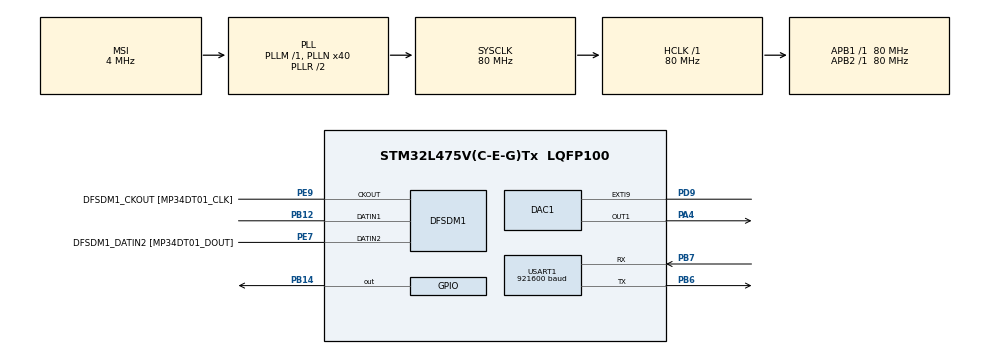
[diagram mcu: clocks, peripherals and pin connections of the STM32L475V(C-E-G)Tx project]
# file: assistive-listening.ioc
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DFSDM1.Divider=25
DFSDM1.DmaMode_reg_FIL0=ENABLE
DFSDM1.DmaMode_reg_FIL1=ENABLE
DFSDM1.FastMode_reg_FIL0=ENABLE
DFSDM1.FastMode_reg_FIL1=ENABLE
DFSDM1.Filter_injChannel1_FIL2=DFSDM_CHANNEL_1
DFSDM1.Filter_regChannel_FIL0=DFSDM_CHANNEL_2
DFSDM1.Filter_regChannel_FIL1=DFSDM_CHANNEL_1
DFSDM1.Filter_regChannel_FIL2=__NULL
DFSDM1.Filter_regChannel_FIL3=__NULL
DFSDM1.Fosr_FIL0=200
DFSDM1.Fosr_FIL1=200
DFSDM1.Fosr_FIL2=200
DFSDM1.RightBitShift_CH1=0x03
DFSDM1.RightBitShift_CH2=0x03
DFSDM1.Trigger_reg_FIL1=DFSDM_FILTER_SYNC_TRIGGER
DFSDM1.Type_spi_CH1=DFSDM_CHANNEL_SPI_FALLING
Dma.DAC_CH1.2.Direction=DMA_MEMORY_TO_PERIPH
Dma.DAC_CH1.2.Instance=DMA1_Channel3
Dma.DAC_CH1.2.MemDataAlignment=DMA_MDATAALIGN_HALFWORD
Dma.DAC_CH1.2.MemInc=DMA_MINC_ENABLE
Dma.DAC_CH1.2.Mode=DMA_CIRCULAR
Dma.DAC_CH1.2.PeriphDataAlignment=DMA_PDATAALIGN_HALFWORD
Dma.DAC_CH1.2.PeriphInc=DMA_PINC_DISABLE
Dma.DAC_CH1.2.Priority=DMA_PRIORITY_LOW
Dma.DFSDM1_FLT0.0.Direction=DMA_PERIPH_TO_MEMORY
Dma.DFSDM1_FLT0.0.Instance=DMA1_Channel4
Dma.DFSDM1_FLT0.0.MemDataAlignment=DMA_MDATAALIGN_WORD
Dma.DFSDM1_FLT0.0.MemInc=DMA_MINC_ENABLE
Dma.DFSDM1_FLT0.0.Mode=DMA_CIRCULAR
Dma.DFSDM1_FLT0.0.PeriphDataAlignment=DMA_PDATAALIGN_WORD
Dma.DFSDM1_FLT0.0.PeriphInc=DMA_PINC_DISABLE
Dma.DFSDM1_FLT0.0.Priority=DMA_PRIORITY_LOW
Dma.DFSDM1_FLT1.3.Direction=DMA_PERIPH_TO_MEMORY
Dma.DFSDM1_FLT1.3.Instance=DMA1_Channel5
Dma.DFSDM1_FLT1.3.MemDataAlignment=DMA_MDATAALIGN_WORD
Dma.DFSDM1_FLT1.3.MemInc=DMA_MINC_ENABLE
Dma.DFSDM1_FLT1.3.Mode=DMA_CIRCULAR
Dma.DFSDM1_FLT1.3.PeriphDataAlignment=DMA_PDATAALIGN_WORD
Dma.DFSDM1_FLT1.3.PeriphInc=DMA_PINC_DISABLE
Dma.DFSDM1_FLT1.3.Priority=DMA_PRIORITY_LOW
Dma.Request0=DFSDM1_FLT0
Dma.Request1=USART1_TX
Dma.Request2=DAC_CH1
Dma.Request3=DFSDM1_FLT1
Dma.USART1_TX.1.Direction=DMA_MEMORY_TO_PERIPH
Dma.USART1_TX.1.Instance=DMA2_Channel6
Dma.USART1_TX.1.MemDataAlignment=DMA_MDATAALIGN_BYTE
Dma.USART1_TX.1.MemInc=DMA_MINC_ENABLE
Dma.USART1_TX.1.Mode=DMA_NORMAL
Dma.USART1_TX.1.PeriphDataAlignment=DMA_PDATAALIGN_BYTE
Dma.USART1_TX.1.PeriphInc=DMA_PINC_DISABLE
Dma.USART1_TX.1.Priority=DMA_PRIORITY_LOW
Mcu.Family=STM32L4
Mcu.Name=STM32L475V(C-E-G)Tx
Mcu.Package=LQFP100
NVIC.DFSDM1_FLT0_IRQn=true\:0\:0\:false\:false\:true\:true\:true\:true
NVIC.DMA1_Channel3_IRQn=true\:0\:0\:false\:false\:true\:false\:true\:true
NVIC.DMA1_Channel4_IRQn=true\:0\:0\:false\:false\:true\:false\:true\:true
NVIC.DMA1_Channel5_IRQn=true\:0\:0\:false\:false\:true\:false\:true\:true
NVIC.DMA2_Channel6_IRQn=true\:0\:0\:false\:false\:true\:false\:true\:true
NVIC.PriorityGroup=NVIC_PRIORITYGROUP_4
NVIC.USART1_IRQn=true\:0\:0\:false\:false\:true\:true\:true\:true
PA13\ (JTMS-SWDIO).Mode=Serial_Wire
PA13\ (JTMS-SWDIO).Signal=SYS_JTMS-SWDIO
PA14\ (JTCK-SWCLK).Mode=Serial_Wire
PA14\ (JTCK-SWCLK).Signal=SYS_JTCK-SWCLK
PA4.Signal=COMP_DAC11_group
PB12.Signal=S_DATAIN1DFSDM1
PB14.Signal=GPIO_Output
PB6.Mode=Asynchronous
PB6.Signal=USART1_TX
PB7.Mode=Asynchronous
PB7.Signal=USART1_RX
PD9.Signal=GPXTI9
PE7.GPIO_Label=DFSDM1_DATIN2 [MP34DT01_DOUT]
PE7.Signal=S_DATAIN2DFSDM1
PE9.GPIO_Label=DFSDM1_CKOUT [MP34DT01_CLK]
PE9.Signal=S_CKOUTDFSDM1
ProjectManager.HeapSize=0x200
ProjectManager.StackSize=0x400
ProjectManager.TargetToolchain=CMake
RCC.ADCFreq_Value=48000000
RCC.AHBFreq_Value=80000000
RCC.APB1Freq_Value=80000000
RCC.APB1TimFreq_Value=80000000
RCC.APB2Freq_Value=80000000
RCC.APB2TimFreq_Value=80000000
RCC.CortexFreq_Value=80000000
RCC.HCLKFreq_Value=80000000
RCC.HSE_VALUE=8000000
RCC.HSI_VALUE=16000000
RCC.LSE_VALUE=32768
RCC.MSI_VALUE=4000000
RCC.PLLN=40
RCC.PLLSAI1N=24
RCC.SYSCLKFreq_VALUE=80000000
RCC.SYSCLKSource=RCC_SYSCLKSOURCE_PLLCLK
RCC.USBFreq_Value=48000000
RCC.VCOOutputFreq_Value=160000000
SH.COMP_DAC11_group.0=DAC1_OUT1,DAC_OUT1
SH.S_CKOUTDFSDM1.0=DFSDM1_CKOUT,PDM_SPI_input_from_ch2_and_internal_clock
SH.S_CKOUTDFSDM1.1=DFSDM1_CKOUT,CKOUT
SH.S_CKOUTDFSDM1.2=DFSDM1_CKOUT,PDM_SPI_input_from_ch1_and_internal_clock
SH.S_DATAIN1DFSDM1.0=DFSDM1_DATIN1,PDM_SPI_input_from_ch1_and_internal_clock
SH.S_DATAIN2DFSDM1.0=DFSDM1_DATIN2,PDM_SPI_input_from_ch2_and_internal_clock
TIM6.TIM_MasterOutputTrigger=TIM_TRGO_ENABLE
USART1.BaudRate=921600
USART1.VirtualMode-Asynchronous=VM_ASYNC
VP_TIM6_VS_ClockSourceINT.Mode=Enable_Timer
board=B-L475E-IOT01A1

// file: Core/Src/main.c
/* USER CODE BEGIN Header */
/**
  ******************************************************************************
  * @file           : main.c
  * @brief          : Main program body
  ******************************************************************************
  * @attention
  *
  * Copyright (c) 2026 STMicroelectronics.
  * All rights reserved.
  *
  * This software is licensed under terms that can be found in the LICENSE file
  * in the root directory of this software component.
  * If no LICENSE file comes with this software, it is provided AS-IS.
  *
  ******************************************************************************
  */
/* USER CODE END Header */
#include "main.h"

/* USER CODE BEGIN Includes */
#include <stdio.h>
#include <stdbool.h>
/* USER CODE END Includes */

DAC_HandleTypeDef hdac1;
DMA_HandleTypeDef hdma_dac_ch1;

DFSDM_Filter_HandleTypeDef hdfsdm1_filter0;
DFSDM_Filter_HandleTypeDef hdfsdm1_filter1;
DFSDM_Filter_HandleTypeDef hdfsdm1_filter2;
DFSDM_Channel_HandleTypeDef hdfsdm1_channel1;
DFSDM_Channel_HandleTypeDef hdfsdm1_channel2;
DMA_HandleTypeDef hdma_dfsdm1_flt0;
DMA_HandleTypeDef hdma_dfsdm1_flt1;

TIM_HandleTypeDef htim6;

UART_HandleTypeDef huart1;
DMA_HandleTypeDef hdma_usart1_tx;

/* USER CODE BEGIN PV */
#define kMaxAudioSampleSize        512
#define kAudioSampleFrequency      16000
#define kFeatureSliceSize          40
#define kFeatureSliceCount         49
#define kFeatureElementCount       (kFeatureSliceSize * kFeatureSliceCount)
#define kFeatureSliceStrideMs      20
#define kFeatureSliceDurationMs    30
#define kSilenceIndex              0
#define kUnknownIndex              1
#define kCategoryCount             4
#define kDFSDMSamplesPerSlot       1024
#define kAudioCaptureBufferSize    (kDFSDMSamplesPerSlot * 16)
#define kUartAudioGain             4
extern const char* kCategoryLabels[kCategoryCount];

bool g_is_audio_initialized = false;
// An internal buffer able to fit 16x our sample size
#define HALF_SIZE (kDFSDMSamplesPerSlot / 2)

volatile uint8_t half_ready_f0[2] = {0, 0};
volatile uint8_t half_ready_f1[2] = {0, 0};

int32_t dfsdm_dma_buffer0[kDFSDMSamplesPerSlot];
int32_t dfsdm_dma_buffer1[kDFSDMSamplesPerSlot];

int16_t stereo_buffer[kDFSDMSamplesPerSlot]; // 2x HALF interleaved
int16_t beamformed_buffer[HALF_SIZE];   // mono output, 512 samples
// A buffer that holds our output
int16_t g_audio_output_buffer[kMaxAudioSampleSize];
int16_t uart_tx_buffer[kDFSDMSamplesPerSlot / 2];   // or correct size
// Mark as volatile so we can check in a while loop to see if
// any samples have arrived yet.
volatile int32_t g_latest_audio_timestamp = 0;

int counter = 0;

#define BEAMFORM_GAIN_SHIFT     1   // divide by 2 after adding two mics
#define BEAMFORM_DELAY_SAMPLES  1

int16_t beamform_delay_s1_history = 0;

/* USER CODE END PV */

void SystemClock_Config(void);
static void MX_GPIO_Init(void);
static void MX_DMA_Init(void);
static void MX_DFSDM1_Init(void);
static void MX_USART1_UART_Init(void);
static void MX_DAC1_Init(void);
static void MX_TIM6_Init(void);
/* USER CODE BEGIN PFP */
int16_t clamp(int32_t val, int16_t min, int16_t max);

//---------------------------------------
volatile uint8_t uart_tx_ready = 1;

volatile uint8_t tx_done_flag = 0;

void ProcessHalf(int half)
{
    int offset = (half == 0) ? 0 : (kDFSDMSamplesPerSlot / 2);

    for (int i = 0; i < kDFSDMSamplesPerSlot / 2; i++)
    {
        int32_t raw0 = dfsdm_dma_buffer0[offset + i];
        int32_t raw1 = dfsdm_dma_buffer1[offset + i];

        int32_t scaled0 = (raw0 >> 8) * kUartAudioGain;
        int32_t scaled1 = (raw1 >> 8) * kUartAudioGain;

        int16_t s0 = clamp(scaled0, -32768, 32767);
        int16_t s1 = clamp(scaled1, -32768, 32767);

        //stereo_buffer[2*i]     = s0;
        //stereo_buffer[2*i + 1] = s1;

        int16_t delayed_s1 = s1;

#if BEAMFORM_DELAY_SAMPLES == 1
        delayed_s1 = beamform_delay_s1_history;
        beamform_delay_s1_history = s1;
#endif

        int32_t beamformed = ((int32_t)s0 + (int32_t)delayed_s1) >> BEAMFORM_GAIN_SHIFT;

        beamformed_buffer[i] = clamp(beamformed, -32768, 32767);
        //beamformed_buffer[i] = s0;
    }
}

void TransmitAudioFrame(int16_t* audio_data, int sample_count) {

   HAL_UART_Transmit_DMA(&huart1, (uint8_t*)audio_data, sample_count * sizeof(int16_t));

}

void HAL_UART_TxCpltCallback(UART_HandleTypeDef *huart)
{
    if (huart->Instance == USART1)
    {
        uart_tx_ready = 1; // Mark that TX is complete
    }
}

int16_t clamp(int32_t val, int16_t min, int16_t max) {
    if (val < min) return min;
    if (val > max) return max;
    return val;
}

/* USER CODE END PFP */

/* USER CODE BEGIN 0 */
/* DMA Half Transfer callback */
void HAL_DFSDM_FilterRegConvHalfCpltCallback(DFSDM_Filter_HandleTypeDef *h)
{
    if (h == &hdfsdm1_filter0) {
        half_ready_f0[0] = 1;
    }
    if (h == &hdfsdm1_filter1) {
        half_ready_f1[0] = 1;
    }
}

void HAL_DFSDM_FilterRegConvCpltCallback(DFSDM_Filter_HandleTypeDef *h)
{
    if (h == &hdfsdm1_filter0) {
        half_ready_f0[1] = 1;
    }
    if (h == &hdfsdm1_filter1) {
        half_ready_f1[1] = 1;
    }
}
/* USER CODE END 0 */

int main(void)
{

  /* MCU Configuration--------------------------------------------------------*/

  /* Reset of all peripherals, Initializes the Flash interface and the Systick. */
  HAL_Init();

  /* Configure the system clock */
  SystemClock_Config();

  /* Initialize all configured peripherals */
  MX_GPIO_Init();
  MX_DMA_Init();
  MX_DFSDM1_Init();
  MX_USART1_UART_Init();
  MX_DAC1_Init();
  MX_TIM6_Init();

  /* Infinite loop */
  /* USER CODE BEGIN WHILE */
  HAL_DFSDM_FilterRegularStart_DMA(&hdfsdm1_filter1,
                                    dfsdm_dma_buffer1,
                                    kDFSDMSamplesPerSlot);

  HAL_DFSDM_FilterRegularStart_DMA(&hdfsdm1_filter0,
		                            dfsdm_dma_buffer0,
									kDFSDMSamplesPerSlot);

  while (1)
  {
    /* USER CODE END WHILE */

    /* USER CODE BEGIN 3 */
	  if (half_ready_f0[0] && half_ready_f1[0] && uart_tx_ready)
	  {
	      uart_tx_ready = 0;

	      ProcessHalf(0);

	      half_ready_f0[0] = 0;
	      half_ready_f1[0] = 0;

	      //TransmitAudioFrame(stereo_buffer, kDFSDMSamplesPerSlot);
	      TransmitAudioFrame(beamformed_buffer, HALF_SIZE);
	  }

	  if (half_ready_f0[1] && half_ready_f1[1] && uart_tx_ready)
	  {
	      uart_tx_ready = 0;

	      ProcessHalf(1);

	      half_ready_f0[1] = 0;
	      half_ready_f1[1] = 0;

	      //TransmitAudioFrame(stereo_buffer, kDFSDMSamplesPerSlot);
	      TransmitAudioFrame(beamformed_buffer, HALF_SIZE);
	  }
  }
  /* USER CODE END 3 */
}

void SystemClock_Config(void)
{
  RCC_OscInitTypeDef RCC_OscInitStruct = {0};
  RCC_ClkInitTypeDef RCC_ClkInitStruct = {0};

  /** Configure the main internal regulator output voltage
  */
  if (HAL_PWREx_ControlVoltageScaling(PWR_REGULATOR_VOLTAGE_SCALE1) != HAL_OK)
  {
    Error_Handler();
  }

  /** Initializes the RCC Oscillators according to the specified parameters
  * in the RCC_OscInitTypeDef structure.
  */
  RCC_OscInitStruct.OscillatorType = RCC_OSCILLATORTYPE_MSI;
  RCC_OscInitStruct.MSIState = RCC_MSI_ON;
  RCC_OscInitStruct.MSICalibrationValue = 0;
  RCC_OscInitStruct.MSIClockRange = RCC_MSIRANGE_6;
  RCC_OscInitStruct.PLL.PLLState = RCC_PLL_ON;
  RCC_OscInitStruct.PLL.PLLSource = RCC_PLLSOURCE_MSI;
  RCC_OscInitStruct.PLL.PLLM = 1;
  RCC_OscInitStruct.PLL.PLLN = 40;
  RCC_OscInitStruct.PLL.PLLP = RCC_PLLP_DIV7;
  RCC_OscInitStruct.PLL.PLLQ = RCC_PLLQ_DIV2;
  RCC_OscInitStruct.PLL.PLLR = RCC_PLLR_DIV2;
  if (HAL_RCC_OscConfig(&RCC_OscInitStruct) != HAL_OK)
  {
    Error_Handler();
  }

  /** Initializes the CPU, AHB and APB buses clocks
  */
  RCC_ClkInitStruct.ClockType = RCC_CLOCKTYPE_HCLK|RCC_CLOCKTYPE_SYSCLK
                              |RCC_CLOCKTYPE_PCLK1|RCC_CLOCKTYPE_PCLK2;
  RCC_ClkInitStruct.SYSCLKSource = RCC_SYSCLKSOURCE_PLLCLK;
  RCC_ClkInitStruct.AHBCLKDivider = RCC_SYSCLK_DIV1;
  RCC_ClkInitStruct.APB1CLKDivider = RCC_HCLK_DIV1;
  RCC_ClkInitStruct.APB2CLKDivider = RCC_HCLK_DIV1;

  if (HAL_RCC_ClockConfig(&RCC_ClkInitStruct, FLASH_LATENCY_4) != HAL_OK)
  {
    Error_Handler();
  }
}

static void MX_DAC1_Init(void)
{

  DAC_ChannelConfTypeDef sConfig = {0};

  /** DAC Initialization
  */
  hdac1.Instance = DAC1;
  if (HAL_DAC_Init(&hdac1) != HAL_OK)
  {
    Error_Handler();
  }

  /** DAC channel OUT1 config
  */
  sConfig.DAC_SampleAndHold = DAC_SAMPLEANDHOLD_DISABLE;
  sConfig.DAC_Trigger = DAC_TRIGGER_NONE;
  sConfig.DAC_OutputBuffer = DAC_OUTPUTBUFFER_ENABLE;
  sConfig.DAC_ConnectOnChipPeripheral = DAC_CHIPCONNECT_DISABLE;
  sConfig.DAC_UserTrimming = DAC_TRIMMING_FACTORY;
  if (HAL_DAC_ConfigChannel(&hdac1, &sConfig, DAC_CHANNEL_1) != HAL_OK)
  {
    Error_Handler();
  }

}

static void MX_DFSDM1_Init(void)
{

  hdfsdm1_filter0.Instance = DFSDM1_Filter0;
  hdfsdm1_filter0.Init.RegularParam.Trigger = DFSDM_FILTER_SW_TRIGGER;
  hdfsdm1_filter0.Init.RegularParam.FastMode = ENABLE;
  hdfsdm1_filter0.Init.RegularParam.DmaMode = ENABLE;
  hdfsdm1_filter0.Init.FilterParam.SincOrder = DFSDM_FILTER_FASTSINC_ORDER;
  hdfsdm1_filter0.Init.FilterParam.Oversampling = 200;
  hdfsdm1_filter0.Init.FilterParam.IntOversampling = 1;
  if (HAL_DFSDM_FilterInit(&hdfsdm1_filter0) != HAL_OK)
  {
    Error_Handler();
  }
  hdfsdm1_filter1.Instance = DFSDM1_Filter1;
  hdfsdm1_filter1.Init.RegularParam.Trigger = DFSDM_FILTER_SYNC_TRIGGER;
  hdfsdm1_filter1.Init.RegularParam.FastMode = ENABLE;
  hdfsdm1_filter1.Init.RegularParam.DmaMode = ENABLE;
  hdfsdm1_filter1.Init.FilterParam.SincOrder = DFSDM_FILTER_FASTSINC_ORDER;
  hdfsdm1_filter1.Init.FilterParam.Oversampling = 200;
  hdfsdm1_filter1.Init.FilterParam.IntOversampling = 1;
  if (HAL_DFSDM_FilterInit(&hdfsdm1_filter1) != HAL_OK)
  {
    Error_Handler();
  }
  hdfsdm1_filter2.Instance = DFSDM1_Filter2;
  hdfsdm1_filter2.Init.InjectedParam.Trigger = DFSDM_FILTER_SW_TRIGGER;
  hdfsdm1_filter2.Init.InjectedParam.ScanMode = DISABLE;
  hdfsdm1_filter2.Init.InjectedParam.DmaMode = DISABLE;
  hdfsdm1_filter2.Init.InjectedParam.ExtTrigger = DFSDM_FILTER_EXT_TRIG_TIM1_TRGO;
  hdfsdm1_filter2.Init.InjectedParam.ExtTriggerEdge = DFSDM_FILTER_EXT_TRIG_RISING_EDGE;
  hdfsdm1_filter2.Init.FilterParam.SincOrder = DFSDM_FILTER_FASTSINC_ORDER;
  hdfsdm1_filter2.Init.FilterParam.Oversampling = 200;
  hdfsdm1_filter2.Init.FilterParam.IntOversampling = 1;
  if (HAL_DFSDM_FilterInit(&hdfsdm1_filter2) != HAL_OK)
  {
    Error_Handler();
  }
  hdfsdm1_channel1.Instance = DFSDM1_Channel1;
  hdfsdm1_channel1.Init.OutputClock.Activation = ENABLE;
  hdfsdm1_channel1.Init.OutputClock.Selection = DFSDM_CHANNEL_OUTPUT_CLOCK_SYSTEM;
  hdfsdm1_channel1.Init.OutputClock.Divider = 25;
  hdfsdm1_channel1.Init.Input.Multiplexer = DFSDM_CHANNEL_EXTERNAL_INPUTS;
  hdfsdm1_channel1.Init.Input.DataPacking = DFSDM_CHANNEL_STANDARD_MODE;
  /* B-L475E-IOT01A routes both onboard MP34DT01 microphones to DFSDM1_DATIN2.
   * Keep channel 1 on the following channel pins so it also samples DATIN2;
   * CubeMX regeneration may overwrite this back to SAME_CHANNEL_PINS. */
  hdfsdm1_channel1.Init.Input.Pins = DFSDM_CHANNEL_FOLLOWING_CHANNEL_PINS;
  hdfsdm1_channel1.Init.SerialInterface.Type = DFSDM_CHANNEL_SPI_FALLING;
  hdfsdm1_channel1.Init.SerialInterface.SpiClock = DFSDM_CHANNEL_SPI_CLOCK_INTERNAL;
  hdfsdm1_channel1.Init.Awd.FilterOrder = DFSDM_CHANNEL_FASTSINC_ORDER;
  hdfsdm1_channel1.Init.Awd.Oversampling = 1;
  hdfsdm1_channel1.Init.Offset = 0;
  hdfsdm1_channel1.Init.RightBitShift = 0x03;
  if (HAL_DFSDM_ChannelInit(&hdfsdm1_channel1) != HAL_OK)
  {
    Error_Handler();
  }
  hdfsdm1_channel2.Instance = DFSDM1_Channel2;
  hdfsdm1_channel2.Init.OutputClock.Activation = ENABLE;
  hdfsdm1_channel2.Init.OutputClock.Selection = DFSDM_CHANNEL_OUTPUT_CLOCK_SYSTEM;
  hdfsdm1_channel2.Init.OutputClock.Divider = 25;
  hdfsdm1_channel2.Init.Input.Multiplexer = DFSDM_CHANNEL_EXTERNAL_INPUTS;
  hdfsdm1_channel2.Init.Input.DataPacking = DFSDM_CHANNEL_STANDARD_MODE;
  hdfsdm1_channel2.Init.Input.Pins = DFSDM_CHANNEL_SAME_CHANNEL_PINS;
  hdfsdm1_channel2.Init.SerialInterface.Type = DFSDM_CHANNEL_SPI_RISING;
  hdfsdm1_channel2.Init.SerialInterface.SpiClock = DFSDM_CHANNEL_SPI_CLOCK_INTERNAL;
  hdfsdm1_channel2.Init.Awd.FilterOrder = DFSDM_CHANNEL_FASTSINC_ORDER;
  hdfsdm1_channel2.Init.Awd.Oversampling = 1;
  hdfsdm1_channel2.Init.Offset = 0;
  hdfsdm1_channel2.Init.RightBitShift = 0x03;
  if (HAL_DFSDM_ChannelInit(&hdfsdm1_channel2) != HAL_OK)
  {
    Error_Handler();
  }
  if (HAL_DFSDM_FilterConfigRegChannel(&hdfsdm1_filter0, DFSDM_CHANNEL_2, DFSDM_CONTINUOUS_CONV_ON) != HAL_OK)
  {
    Error_Handler();
  }
  if (HAL_DFSDM_FilterConfigRegChannel(&hdfsdm1_filter1, DFSDM_CHANNEL_1, DFSDM_CONTINUOUS_CONV_ON) != HAL_OK)
  {
    Error_Handler();
  }
  if (HAL_DFSDM_FilterConfigInjChannel(&hdfsdm1_filter2, DFSDM_CHANNEL_1) != HAL_OK)
  {
    Error_Handler();
  }

}

static void MX_TIM6_Init(void)
{

  TIM_MasterConfigTypeDef sMasterConfig = {0};

  htim6.Instance = TIM6;
  htim6.Init.Prescaler = 0;
  htim6.Init.CounterMode = TIM_COUNTERMODE_UP;
  htim6.Init.Period = 65535;
  htim6.Init.AutoReloadPreload = TIM_AUTORELOAD_PRELOAD_DISABLE;
  if (HAL_TIM_Base_Init(&htim6) != HAL_OK)
  {
    Error_Handler();
  }
  sMasterConfig.MasterOutputTrigger = TIM_TRGO_ENABLE;
  sMasterConfig.MasterSlaveMode = TIM_MASTERSLAVEMODE_DISABLE;
  if (HAL_TIMEx_MasterConfigSynchronization(&htim6, &sMasterConfig) != HAL_OK)
  {
    Error_Handler();
  }

}

static void MX_USART1_UART_Init(void)
{

  huart1.Instance = USART1;
  huart1.Init.BaudRate = 921600;
  huart1.Init.WordLength = UART_WORDLENGTH_8B;
  huart1.Init.StopBits = UART_STOPBITS_1;
  huart1.Init.Parity = UART_PARITY_NONE;
  huart1.Init.Mode = UART_MODE_TX_RX;
  huart1.Init.HwFlowCtl = UART_HWCONTROL_NONE;
  huart1.Init.OverSampling = UART_OVERSAMPLING_16;
  huart1.Init.OneBitSampling = UART_ONE_BIT_SAMPLE_DISABLE;
  huart1.AdvancedInit.AdvFeatureInit = UART_ADVFEATURE_NO_INIT;
  if (HAL_UART_Init(&huart1) != HAL_OK)
  {
    Error_Handler();
  }

}

static void MX_DMA_Init(void)
{

  /* DMA controller clock enable */
  __HAL_RCC_DMA1_CLK_ENABLE();
  __HAL_RCC_DMA2_CLK_ENABLE();

  /* DMA interrupt init */
  /* DMA1_Channel3_IRQn interrupt configuration */
  HAL_NVIC_SetPriority(DMA1_Channel3_IRQn, 0, 0);
  HAL_NVIC_EnableIRQ(DMA1_Channel3_IRQn);
  /* DMA1_Channel4_IRQn interrupt configuration */
  HAL_NVIC_SetPriority(DMA1_Channel4_IRQn, 0, 0);
  HAL_NVIC_EnableIRQ(DMA1_Channel4_IRQn);
  /* DMA1_Channel5_IRQn interrupt configuration */
  HAL_NVIC_SetPriority(DMA1_Channel5_IRQn, 0, 0);
  HAL_NVIC_EnableIRQ(DMA1_Channel5_IRQn);
  /* DMA2_Channel6_IRQn interrupt configuration */
  HAL_NVIC_SetPriority(DMA2_Channel6_IRQn, 0, 0);
  HAL_NVIC_EnableIRQ(DMA2_Channel6_IRQn);

}

static void MX_GPIO_Init(void)
{
  GPIO_InitTypeDef GPIO_InitStruct = {0};

  /* GPIO Ports Clock Enable */
  __HAL_RCC_GPIOA_CLK_ENABLE();
  __HAL_RCC_GPIOE_CLK_ENABLE();
  __HAL_RCC_GPIOB_CLK_ENABLE();
  __HAL_RCC_GPIOD_CLK_ENABLE();

  /*Configure GPIO pin Output Level */
  HAL_GPIO_WritePin(GPIOB, GPIO_PIN_14, GPIO_PIN_RESET);

  /*Configure GPIO pin : PB14 */
  GPIO_InitStruct.Pin = GPIO_PIN_14;
  GPIO_InitStruct.Mode = GPIO_MODE_OUTPUT_PP;
  GPIO_InitStruct.Pull = GPIO_NOPULL;
  GPIO_InitStruct.Speed = GPIO_SPEED_FREQ_LOW;
  HAL_GPIO_Init(GPIOB, &GPIO_InitStruct);

  /*Configure GPIO pin : PD9 */
  GPIO_InitStruct.Pin = GPIO_PIN_9;
  GPIO_InitStruct.Mode = GPIO_MODE_IT_RISING;
  GPIO_InitStruct.Pull = GPIO_NOPULL;
  HAL_GPIO_Init(GPIOD, &GPIO_InitStruct);

}

void Error_Handler(void)
{
  __disable_irq();
  while (1)
  {
  }
}
